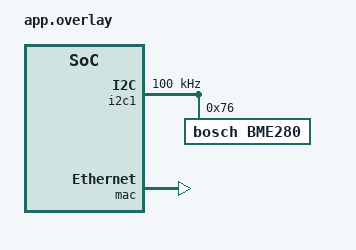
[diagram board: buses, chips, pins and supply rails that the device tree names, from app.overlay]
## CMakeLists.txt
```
cmake_minimum_required(VERSION 3.20.0)
find_package(Zephyr REQUIRED HINTS $ENV{ZEPHYR_BASE})
project(edge_aggregator)
target_sources(app PRIVATE src/main.c)
zephyr_include_directories(include)
```

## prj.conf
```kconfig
CONFIG_STDOUT_CONSOLE=y
CONFIG_LOG=y
CONFIG_I2C=y
CONFIG_SENSOR=y
CONFIG_BME280=y

CONFIG_NETWORKING=y
CONFIG_NET_IPV4=y
CONFIG_NET_UDP=y
CONFIG_NET_SOCKETS=y
CONFIG_POSIX_API=y

CONFIG_NET_DHCPV4=n
CONFIG_NET_CONFIG_SETTINGS=y
CONFIG_NET_CONFIG_MY_IPV4_ADDR="192.168.100.2"
CONFIG_NET_CONFIG_PEER_IPV4_ADDR="192.168.100.1"

CONFIG_TEST_RANDOM_GENERATOR=y

CONFIG_NET_L2_ETHERNET=y
CONFIG_ETH_STM32_HAL=y
```

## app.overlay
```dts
&i2c1 {
    status = "okay";
    clock-frequency = <I2C_BITRATE_STANDARD>;

    bme280: bme280@76
    {
        compatible = "bosch,bme280";
        reg = <0x76>;
    };
};

&mac {
    status = "okay";
    local-mac-address = [02 00 00 00 00 01];
};
```

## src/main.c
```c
#include <zephyr/kernel.h>
#include <zephyr/device.h>
#include <zephyr/drivers/sensor.h>
#include <zephyr/logging/log.h>
#include <zephyr/net/socket.h>
#include <string.h>

#include "shared_payload.h"

LOG_MODULE_REGISTER(edge_aggregator, LOG_LEVEL_INF);

K_MSGQ_DEFINE(env_msgq, sizeof(struct env_payload), 10, 4);

#define BME280_NODE DT_NODELABEL(bme280)
#define SAMPLES_PER_AVG 5
#define SPIKE_THRESHOLD_TEMP 35

void    sensor_thread_fn(void *arg1, void *arg2, void *arg3)
{
    const struct device *dev = DEVICE_DT_GET(BME280_NODE);
    if (!device_is_ready(dev))
    {
        LOG_ERR("BME280 device not ready!");
        return ;
    }

    struct env_payload  payload;
    struct sensor_value temp, press, hum;

    while (1)
    {
        if (sensor_sample_fetch(dev) == 0)
        {
            sensor_channel_get(dev, SENSOR_CHAN_AMBIENT_TEMP, &temp);
            sensor_channel_get(dev, SENSOR_CHAN_PRESS, &press);
            sensor_channel_get(dev, SENSOR_CHAN_HUMIDITY, &hum);
            memset(&payload, 0, sizeof(payload));
            payload.timestamp = k_uptime_get_32();
            payload.temperature.val1 = temp.val1;
            payload.temperature.val2 = temp.val2;
            payload.pressure.val1 = press.val1;
            payload.pressure.val2 = press.val2;
            payload.humidity.val1 = hum.val1;
            payload.humidity.val2 = hum.val2;
            
            if (k_msgq_put(&env_msgq, &payload, K_MSEC(100)) != 0)
                LOG_WRN("Message queue full, dropping sample!");
        }
        k_msleep(2000);
    }
}

void    processing_thread_fn(void *arg1, void *arg2, void *arg3)
{
    struct env_payload  data;
    int                 sock = zsock_socket(AF_INET, SOCK_DGRAM, IPPROTO_UDP);
    if (sock < 0)
    {
        LOG_ERR("Failed to create a socket: %d", sock);
        return ;
    }
    struct  sockaddr_in host_addr;
    host_addr.sin_family = AF_INET;
    host_addr.sin_port = htons(8080);
    zsock_inet_pton(AF_INET, "192.168.100.1", &host_addr.sin_addr);

    int                 sample_count = 0;
    int32_t             sum_t1 = 0, sum_t2 = 0;
    int32_t             sum_p1 = 0, sum_p2 = 0;
    int32_t             sum_h1 = 0, sum_h2 = 0;

    while (1)
    {
        if (k_msgq_get(&env_msgq, &data, K_FOREVER) == 0)
        {
            if (data.temperature.val1 >= SPIKE_THRESHOLD_TEMP)
            {
                LOG_WRN("THERMAL SPIKE DETECTED");
                zsock_sendto(sock, &data, sizeof(data), 0, (struct sockaddr *)&host_addr, sizeof(host_addr));
                sample_count = 0;
                sum_t1 = sum_t2 = sum_p1 = sum_p2 = sum_h1 = sum_h2 = 0;
                continue ;
            }
            sum_t1 += data.temperature.val1;
            sum_t2 += data.temperature.val2;
            sum_p1 += data.pressure.val1;
            sum_p2 += data.pressure.val2;
            sum_h1 += data.humidity.val1;
            sum_h2 += data.humidity.val2;
            sample_count++;

            if (sample_count >= SAMPLES_PER_AVG)
            {
                struct env_payload  avg_payload;
                avg_payload.timestamp = data.timestamp;
                avg_payload.temperature.val1 = sum_t1 / SAMPLES_PER_AVG;
                avg_payload.temperature.val2 = (sum_t2 + ((sum_t1 % SAMPLES_PER_AVG) * 1000000)) / SAMPLES_PER_AVG;
                avg_payload.pressure.val1 = sum_p1 / SAMPLES_PER_AVG;
                avg_payload.pressure.val2 = (sum_p2 + ((sum_p1 % SAMPLES_PER_AVG) * 1000000)) / SAMPLES_PER_AVG;
                avg_payload.humidity.val1 = sum_h1 / SAMPLES_PER_AVG;
                avg_payload.humidity.val2 = (sum_h2 + ((sum_h1 % SAMPLES_PER_AVG) * 1000000)) / SAMPLES_PER_AVG;
                int ret = zsock_sendto(sock, &avg_payload, sizeof(avg_payload), 0, (struct sockaddr *)&host_addr, sizeof(host_addr));
                if (ret < 0)
                    LOG_ERR("Socket transmission failed: %d", errno);
                else
                    LOG_INF("Transmitted 10s average payload");
                sample_count = 0;
                sum_t1 = sum_t2 = sum_p1 = sum_p2 = sum_h1 = sum_h2 = 0;
            }
        }
    }
}

K_THREAD_DEFINE(sensor_tid, 1024, sensor_thread_fn, NULL, NULL, NULL, 7, 0, 0);
K_THREAD_DEFINE(processing_tid, 1024, processing_thread_fn, NULL, NULL, NULL, 5, 0, 0);
```

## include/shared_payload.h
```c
#ifndef SHARED_PAYLOAD_H
#define SHARED_PAYLOAD_H

#include <stdint.h>

struct __attribute__((packed)) sensor_reading
{
    int32_t                 val1;
    int32_t                 val2;
};

struct __attribute__((packed)) env_payload
{
    uint64_t                timestamp;
    struct sensor_reading   temperature;
    struct sensor_reading   pressure;
    struct sensor_reading   humidity;
};

#endif
```

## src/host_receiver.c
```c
#include <stdio.h>
#include <errno.h>
#include <stdlib.h>
#include <string.h>
#include <unistd.h>
#include <arpa/inet.h>
#include <signal.h>
#include "../include/shared_payload.h"

volatile sig_atomic_t   keep_running = 1;

void    intHandler(int dummy)
{
    (void) dummy;
    keep_running = 0;
}

int     main(void)
{
    struct sockaddr_in  server_addr, client_addr;
    socklen_t           addr_len;
    struct env_payload  payload;
    int                 sockfd;
    struct sigaction    sa;

    memset(&sa, 0, sizeof(sa));
    sa.sa_handler = intHandler;
    sigaction(SIGINT, &sa, NULL);

    sockfd = socket(AF_INET, SOCK_DGRAM, 0);
    if (sockfd < 0)
    {
        perror("Socket creation failed");
        exit (1);
    }
    memset(&server_addr, 0, sizeof(server_addr));
    server_addr.sin_family = AF_INET;
    server_addr.sin_port = htons(8080);
    server_addr.sin_addr.s_addr = INADDR_ANY;
    if (bind(sockfd, (struct sockaddr *)&server_addr, sizeof(server_addr)) < 0)
    {
        perror ("Bind failed");
        close(sockfd);
        exit(1);
    }
    printf("Listening on UDP port 8080\n");

    while (keep_running)
    {
        memset(&payload, 0, sizeof(payload));
        addr_len = sizeof(client_addr);
        ssize_t read = recvfrom(sockfd, &payload, sizeof(payload), 0, (struct sockaddr *)&client_addr, &addr_len);
        if (read > 0)
        {
            printf("[Time: %lu ms] Temp: %d.%06d C | Press: %d.%06d kPa | Hum: %d.%06d %%\n", payload.timestamp, payload.temperature.val1,
                payload.temperature.val2, payload.pressure.val1, payload.pressure.val2, payload.humidity.val1, payload.humidity.val2);
        }
        else if (read < 0)
        {
            if (keep_running == 0)
                break ;
            perror("recvfrom failed");
        }
    }
    close(sockfd);
    printf("\nDaemon terminated cleanly.\n");
    return (0);
}
```
